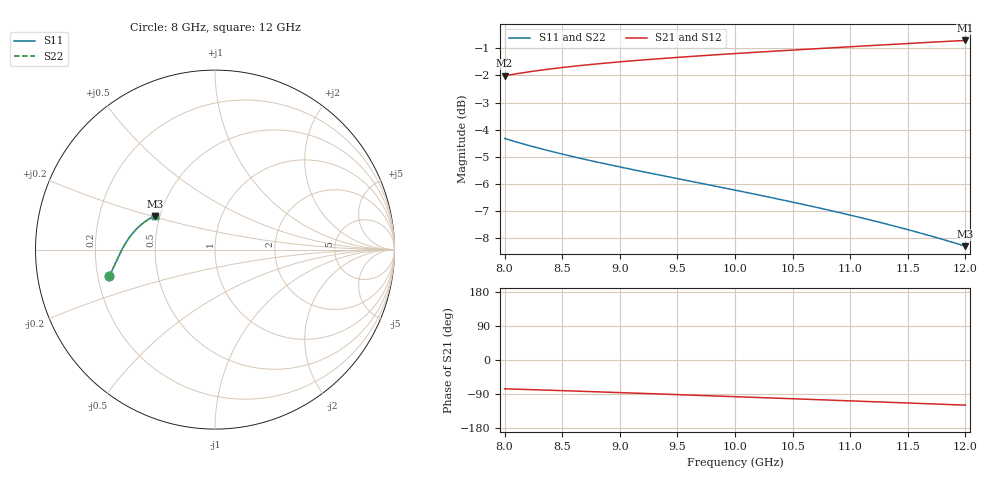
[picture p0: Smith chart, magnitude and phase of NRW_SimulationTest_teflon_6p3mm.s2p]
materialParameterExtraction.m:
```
%NRW Algorithm from page 112 in https://nvlpubs.nist.gov/nistpubs/Legacy/TN/nbstechnicalnote1536.pdf
clear;clc;close all
c0 = physconst('lightspeed');
e0 = 8.854e-12;

%% File Input

% Note: If extracting from simulation, be sure not to renormalize
% S-parameters
filepath = 'NRW_SimulationTest_teflon_6p3mm.s2p'; 

[~, fname, ~] = fileparts(filepath);

% Import touchstone file (https://github.com/njchorda/MATLAB-Touchstone-Reader)
S = SPARAMS(filepath);

% If you desire to restrict the frequency range
% f_range = [8e9 12e9];
% S.f = S.f(S.f > f_range(1) & S.f < f_range(2));
% S.S11 = S.S11(S.f > f_range(1) & S.f < f_range(2));
% S.S12 = S.S12(S.f > f_range(1) & S.f < f_range(2));
% S.S21 = S.S21(S.f > f_range(1) & S.f < f_range(2));
% S.S22 = S.S22(S.f > f_range(1) & S.f < f_range(2));

%% Dimensions

a = 22.86e-3; % Standard WR90 width
L = 6.3e-3; % Sample thickness of 6.3 mm


%% NRW Calculations
X = (S.S11.^2 - S.S21.^2 + 1)./(2*S.S11);

Gam1 = zeros(1, length(S.f));
for i = 1:length(S.f)
    temp = X(i) + sqrt(X(i).^2 - 1);
    if abs(temp) <= 1
        Gam1(i) = temp;
    else
        Gam1(i) = X(i) - sqrt(X(i).^2 - 1);
    end
end

Z1 = (S.S11 + S.S21 - Gam1)./(1 - (S.S11 + S.S21).*Gam1);

lnZ1 = log(abs(Z1)) + 1i*(angle(Z1) + -2*pi*0);
invGamSq = -1*((lnZ1./(2.*pi.*L))).^2;
lam0 = c0./S.f;
lamc = 2.*a;
ura = (1 + Gam1).*sqrt(invGamSq)./((1 - Gam1).*sqrt((1./lam0.^2) - (1./lamc.^2)));

era = (lam0.^2./ura).*((1./lamc.^2) - (log(1./Z1)./(2*pi*L)).^2);
tanD = -imag(era)./real(era);
magTanD = imag(ura)./real(ura);

f = S.f;
derurdf = diff(era.*ura)./diff(f);
derurdf = [0 derurdf];
tCalc = (1./c0.^2).*L.*(f.*era.*ura + f.^2.*0.5.*derurdf)./sqrt(era.*ura.*f.^2/c0.^2 - 1./lamc.^2);
tCalc = real(tCalc);
dphidf = diff(unwrap(angle(Z1)))./diff(f);
dphidf = [0 dphidf];
tMeas = -1*dphidf./(2*pi);


%% Plot results

fig1 = figure(1);
subplot(2, 1, 1)
plot(S.f/1e9, real(era), 'r')
hold on
plot(S.f/1e9, abs(imag(era)), 'b')
ylabel('\epsilon')
legend({'Real', 'Imag.'}, 'Location','best');
ylim([0 ceil(1.5*max(real(era)))])
% ylim([0 14])
set(gca, 'FontSize', 20, 'FontName', 'Times New Roman');
set(findall(gcf, 'Type', 'Line'), 'LineWidth', 4);
subplot(2, 1, 2)
plot(S.f/1e9, abs(tanD), 'r')
% ylim([0 1])
% ylim([0 0.08])
ylabel('tan\delta')
xlabel('Frequency (GHz)')
% xlim([8 12])
set(gca, 'FontSize', 20, 'FontName', 'Times New Roman');
set(findall(gcf, 'Type', 'Line'), 'LineWidth', 4);
fig1.Position = [680 180 1186 698];

fig2 = figure(2);
subplot(2, 1, 1)
plot(S.f/1e9, real(ura), 'r')
hold on
plot(S.f/1e9, abs(imag(ura)), 'b')
ylabel('\mu')
legend({'Real', 'Imag.'}, 'Location','best');
ylim([0 ceil(1.5*max(real(ura)))])
set(gca, 'FontSize', 20, 'FontName', 'Times New Roman');
set(findall(gcf, 'Type', 'Line'), 'LineWidth', 4);

subplot(2, 1, 2)
plot(S.f/1e9, abs(magTanD), 'r')
% ylim([0 0.08])
ylabel('tan\delta_m')
xlabel('Frequency (GHz)')
xlim([8 12])
set(gca, 'FontSize', 20, 'FontName', 'Times New Roman');
set(findall(gcf, 'Type', 'Line'), 'LineWidth', 4);
fig2.Position = [680 180 1186 698];

%% Export figure if desired
% exportgraphics(fig1, [fname '.png'])

%% Display average value and at a specified frequency
disp('Averages:')
disp("er = " + num2str(mean(real(era))))
disp("tanD = " + num2str(mean(real(tanD))))
disp("ur = " + num2str(mean(real(ura))))
disp("magtanD = " + num2str(mean(real(magTanD))))

f_disp = 10e9;
disp("At " + num2str(f_disp/1e9) + " GHz")
disp("er = " + num2str((real(era(S.f == f_disp)))))
disp("tanD = " + num2str((real(tanD(S.f == f_disp)))))
disp("ur = " + num2str((real(ura(S.f == f_disp)))))
disp("magtanD = " + num2str((real(magTanD(S.f == f_disp)))))
```
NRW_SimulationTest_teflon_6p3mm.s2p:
! Touchstone file exported from HFSS 2025.1.0
!  File:  C:/Users/njchorda/Downloads/NRW_SimulationTest.aedt
!  Generated:  02:25:31 AM Mar  2, 2026
!  Design:  HFSSDesign1
!  Project:  NRW_SimulationTest
!  Setup:  Setup1
!  Solution:  Sweep
! Variables:
!  Lfeed = 10mm
!  a = 22.86mm
!  b = 10.16mm
!  d = 6.3mm
!Data is not renormalized
# GHz S MA
! Terminal data exported
! Port[1] = 1
! Port[2] = 2
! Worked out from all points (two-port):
!   401 points, 8 GHz to 12 GHz, reference per port
!   highest |S21| = -0.70 dB at 12 GHz (marker M1); lowest = -2.0 dB at 8 GHz (marker M2)
!   |S21| within 3 dB of the highest: start of sweep to end of sweep
!   lowest |S11| = -8.3 dB at 12 GHz (marker M3), VSWR 2.25
!   |S11| at or under -10 dB: nowhere
!   |S22| runs from -8.3 to -4.3 dB; largest |S21 - S12| = 1.6e-14
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8  0.6073 -166.1  0.7934 -76.0  0.7934 -76.0  0.6073 -166.1
! Gamma 0 96.0523868093574 0 96.0524692737329
! Port Impedance 584.541451814304 0 584.535551075933 0
8.2  0.5902 -168.0  0.8062 -77.9  0.8062 -77.9  0.5902 -168.0
8.47  0.5703 -170.6  0.8204 -80.5  0.8204 -80.5  0.5703 -170.6
8.71  0.5548 -173.1  0.831 -83.0  0.831 -83.0  0.5548 -173.1
8.96  0.5402 -175.7  0.8405 -85.6  0.8405 -85.6  0.5402 -175.7
9.48  0.5129 178.8  0.8575 -91.1  0.8575 -91.1  0.5129 178.8
10  0.4874 173.2  0.8722 -96.7  0.8722 -96.7  0.4874 173.2
10.51  0.4626 167.6  0.8855 -102.4  0.8855 -102.4  0.4626 167.6
11.02  0.4371 161.9  0.8983 -108.0  0.8983 -108.0  0.4371 161.9
11.52  0.4107 156.3  0.9109 -113.6  0.9109 -113.6  0.4107 156.3
12  0.3838 150.8  0.9223 -119.1  0.9223 -119.1  0.3838 150.9
